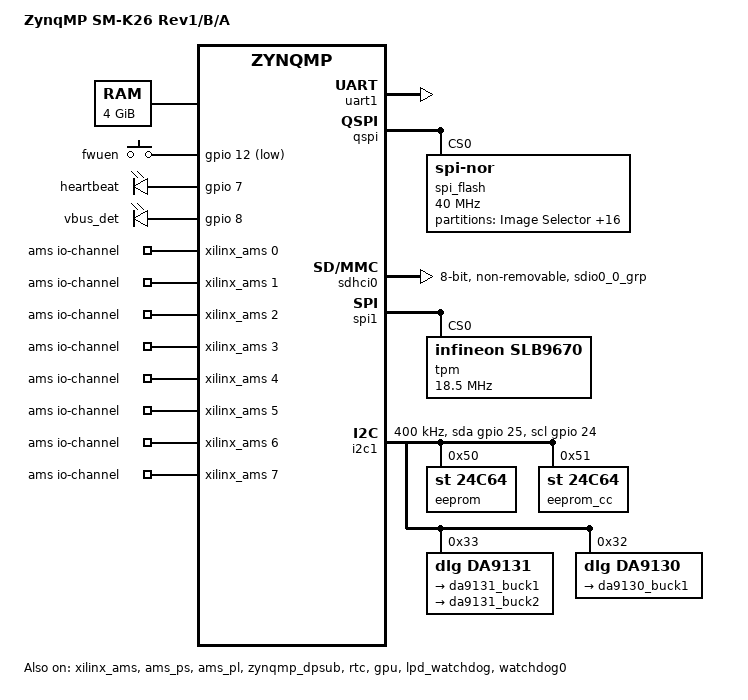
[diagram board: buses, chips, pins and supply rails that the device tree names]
// SPDX-License-Identifier: GPL-2.0
/*
 * dts file for Xilinx ZynqMP SM-K26 rev1/B/A
 *
 * (C) Copyright 2020 - 2021, Xilinx, Inc.
 *
 * Michal Simek <michal.simek@amd.com>
 */

/dts-v1/;

#include "zynqmp.dtsi"
#include "zynqmp-clk-ccf.dtsi"
#include <dt-bindings/input/input.h>
#include <dt-bindings/gpio/gpio.h>
#include <dt-bindings/phy/phy.h>
#include <dt-bindings/pinctrl/pinctrl-zynqmp.h>

/ {
	model = "ZynqMP SM-K26 Rev1/B/A";
	compatible = "xlnx,zynqmp-sm-k26-rev1", "xlnx,zynqmp-sm-k26-revB",
		     "xlnx,zynqmp-sm-k26-revA", "xlnx,zynqmp-sm-k26",
		     "xlnx,zynqmp";

	aliases {
		i2c0 = &i2c0;
		i2c1 = &i2c1;
		mmc0 = &sdhci0;
		mmc1 = &sdhci1;
		nvmem0 = &eeprom;
		nvmem1 = &eeprom_cc;
		rtc0 = &rtc;
		serial0 = &uart0;
		serial1 = &uart1;
		serial2 = &dcc;
		spi0 = &qspi;
		spi1 = &spi0;
		spi2 = &spi1;
		usb0 = &usb0;
		usb1 = &usb1;
	};

	chosen {
		bootargs = "earlycon";
		stdout-path = "serial1:115200n8";
	};

	memory@0 {
		device_type = "memory"; /* 4GB */
		reg = <0x0 0x0 0x0 0x80000000>, <0x8 0x00000000 0x0 0x80000000>;
	};

	reserved-memory {
		#address-cells = <2>;
		#size-cells = <2>;
		ranges;

		pmu_region: pmu@7ff00000 {
			reg = <0x0 0x7ff00000 0x0 0x100000>;
			no-map;
		};
	};

	gpio-keys {
		compatible = "gpio-keys";
		autorepeat;
		key-fwuen {
			label = "fwuen";
			gpios = <&gpio 12 GPIO_ACTIVE_LOW>;
			linux,code = <BTN_MISC>;
			wakeup-source;
			autorepeat;
		};
	};

	leds {
		compatible = "gpio-leds";
		ds35-led {
			label = "heartbeat";
			gpios = <&gpio 7 GPIO_ACTIVE_HIGH>;
			linux,default-trigger = "heartbeat";
		};

		ds36-led {
			label = "vbus_det";
			gpios = <&gpio 8 GPIO_ACTIVE_HIGH>;
			default-state = "on";
		};
	};

	ams {
		compatible = "iio-hwmon";
		io-channels = <&xilinx_ams 0>, <&xilinx_ams 1>, <&xilinx_ams 2>,
			<&xilinx_ams 3>, <&xilinx_ams 4>, <&xilinx_ams 5>,
			<&xilinx_ams 6>, <&xilinx_ams 7>, <&xilinx_ams 8>,
			<&xilinx_ams 9>, <&xilinx_ams 10>, <&xilinx_ams 11>,
			<&xilinx_ams 12>, <&xilinx_ams 13>, <&xilinx_ams 14>,
			<&xilinx_ams 15>, <&xilinx_ams 16>, <&xilinx_ams 17>,
			<&xilinx_ams 18>, <&xilinx_ams 19>, <&xilinx_ams 20>,
			<&xilinx_ams 21>, <&xilinx_ams 22>, <&xilinx_ams 23>,
			<&xilinx_ams 24>, <&xilinx_ams 25>, <&xilinx_ams 26>,
			<&xilinx_ams 27>, <&xilinx_ams 28>, <&xilinx_ams 29>;
	};
};

&modepin_gpio {
	label = "modepin";
};

&uart1 { /* MIO36/MIO37 */
	status = "okay";
};

&pinctrl0 {
	status = "okay";
	pinctrl_sdhci0_default: sdhci0-default {
		conf {
			groups = "sdio0_0_grp";
			slew-rate = <SLEW_RATE_SLOW>;
			power-source = <IO_STANDARD_LVCMOS18>;
			bias-disable;
		};

		mux {
			groups = "sdio0_0_grp";
			function = "sdio0";
		};
	};
};

&qspi { /* MIO 0-5 - U143 */
	status = "okay";
	spi_flash: flash@0 { /* MT25QU512A */
		compatible = "jedec,spi-nor"; /* 64MB */
		reg = <0>;
		spi-tx-bus-width = <4>;
		spi-rx-bus-width = <4>;
		spi-max-frequency = <40000000>; /* 40MHz */

		partitions {
			compatible = "fixed-partitions";
			#address-cells = <1>;
			#size-cells = <1>;

			partition@0 {
				label = "Image Selector";
				reg = <0x0 0x80000>; /* 512KB */
				read-only;
				lock;
			};
			partition@80000 {
				label = "Image Selector Golden";
				reg = <0x80000 0x80000>; /* 512KB */
				read-only;
				lock;
			};
			partition@100000 {
				label = "Persistent Register";
				reg = <0x100000 0x20000>; /* 128KB */
			};
			partition@120000 {
				label = "Persistent Register Backup";
				reg = <0x120000 0x20000>; /* 128KB */
			};
			partition@140000 {
				label = "Open_1";
				reg = <0x140000 0xC0000>; /* 768KB */
			};
			partition@200000 {
				label = "Image A (FSBL, PMU, ATF, U-Boot)";
				reg = <0x200000 0xD00000>; /* 13MB */
			};
			partition@f00000 {
				label = "ImgSel Image A Catch";
				reg = <0xF00000 0x80000>; /* 512KB */
				read-only;
				lock;
			};
			partition@f80000 {
				label = "Image B (FSBL, PMU, ATF, U-Boot)";
				reg = <0xF80000 0xD00000>; /* 13MB */
			};
			partition@1c80000 {
				label = "ImgSel Image B Catch";
				reg = <0x1C80000 0x80000>; /* 512KB */
				read-only;
				lock;
			};
			partition@1d00000 {
				label = "Open_2";
				reg = <0x1D00000 0x100000>; /* 1MB */
			};
			partition@1e00000 {
				label = "Recovery Image";
				reg = <0x1E00000 0x200000>; /* 2MB */
				read-only;
				lock;
			};
			partition@2000000 {
				label = "Recovery Image Backup";
				reg = <0x2000000 0x200000>; /* 2MB */
				read-only;
				lock;
			};
			partition@2200000 {
				label = "U-Boot storage variables";
				reg = <0x2200000 0x20000>; /* 128KB */
			};
			partition@2220000 {
				label = "U-Boot storage variables backup";
				reg = <0x2220000 0x20000>; /* 128KB */
			};
			partition@2240000 {
				label = "SHA256";
				reg = <0x2240000 0x40000>; /* 256B but 256KB sector */
				read-only;
				lock;
			};
			partition@2280000 {
				label = "Secure OS Storage";
				reg = <0x2280000 0x20000>; /* 128KB */
			};
			partition@22a0000 {
				label = "User";
				reg = <0x22a0000 0x1d60000>; /* 29.375 MB */
			};
		};
	};
};

&sdhci0 { /* MIO13-23 - 16GB emmc MTFC16GAPALBH-IT - U133A */
	status = "okay";
	pinctrl-names = "default";
	pinctrl-0 = <&pinctrl_sdhci0_default>;
	non-removable;
	disable-wp;
	bus-width = <8>;
	xlnx,mio-bank = <0>;
	assigned-clock-rates = <187498123>;
};

&spi1 { /* MIO6, 9-11 */
	status = "okay";
	label = "TPM";
	num-cs = <1>;
	tpm@0 { /* slm9670 - U144 */
		compatible = "infineon,slb9670", "tcg,tpm_tis-spi";
		reg = <0>;
		spi-max-frequency = <18500000>;
	};
};

&i2c1 {
	status = "okay";
	bootph-all;
	clock-frequency = <400000>;
	scl-gpios = <&gpio 24 (GPIO_ACTIVE_HIGH | GPIO_OPEN_DRAIN)>;
	sda-gpios = <&gpio 25 (GPIO_ACTIVE_HIGH | GPIO_OPEN_DRAIN)>;

	eeprom: eeprom@50 { /* u46 - also at address 0x58 */
		bootph-all;
		compatible = "st,24c64", "atmel,24c64"; /* st m24c64 */
		reg = <0x50>;
		/* WP pin EE_WP_EN connected to slg7x644092@68 */
	};

	eeprom_cc: eeprom@51 { /* required by spec - also at address 0x59 */
		bootph-all;
		compatible = "st,24c64", "atmel,24c64"; /* st m24c64 */
		reg = <0x51>;
	};

	/* da9062@30 - u170 - also at address 0x31 */
	/* da9131@33 - u167 */
	da9131: pmic@33 {
		compatible = "dlg,da9131";
		reg = <0x33>;
		regulators {
			da9131_buck1: buck1 {
				regulator-name = "da9131_buck1";
				regulator-boot-on;
				regulator-always-on;
			};
			da9131_buck2: buck2 {
				regulator-name = "da9131_buck2";
				regulator-boot-on;
				regulator-always-on;
			};
		};
	};

	/* da9130@32 - u166 */
	da9130: pmic@32 {
		compatible = "dlg,da9130";
		reg = <0x32>;
		regulators {
			da9130_buck1: buck1 {
				regulator-name = "da9130_buck1";
				regulator-boot-on;
				regulator-always-on;
			};
		};
	};

	/* slg7x644091@70 - u168 NOT accessible due to address conflict with stdp4320 */
	/*
	 * stdp4320 - u27 FW has below two issues to be fixed in next board revision.
	 * Device acknowledging to addresses 0x5C, 0x5D, 0x70, 0x72, 0x76.
	 * Address conflict with slg7x644091@70 making both the devices NOT accessible.
	 * With the FW fix, stdp4320 should respond to address 0x73 only.
	 */
	/* slg7x644092@68 - u169 */
	/* Also connected via JA1C as C23/C24 */
};

&gpio {
	status = "okay";
	gpio-line-names = "QSPI_CLK", "QSPI_DQ1", "QSPI_DQ2", "QSPI_DQ3", "QSPI_DQ0", /* 0 - 4 */
			  "QSPI_CS_B", "SPI_CLK", "LED1", "LED2", "SPI_CS_B", /* 5 - 9 */
			  "SPI_MISO", "SPI_MOSI", "FWUEN", "EMMC_DAT0", "EMMC_DAT1", /* 10 - 14 */
			  "EMMC_DAT2", "EMMC_DAT3", "EMMC_DAT4", "EMMC_DAT5", "EMMC_DAT6", /* 15 - 19 */
			  "EMMC_DAT7", "EMMC_CMD", "EMMC_CLK", "EMMC_RST", "I2C1_SCL", /* 20 - 24 */
			  "I2C1_SDA", "", "", "", "", /* 25 - 29 */
			  "", "", "", "", "", /* 30 - 34 */
			  "", "", "", "", "", /* 35 - 39 */
			  "", "", "", "", "", /* 40 - 44 */
			  "", "", "", "", "", /* 45 - 49 */
			  "", "", "", "", "", /* 50 - 54 */
			  "", "", "", "", "", /* 55 - 59 */
			  "", "", "", "", "", /* 60 - 64 */
			  "", "", "", "", "", /* 65 - 69 */
			  "", "", "", "", "", /* 70 - 74 */
			  "", "", "", /* 75 - 77, MIO end and EMIO start */
			  "", "", /* 78 - 79 */
			  "", "", "", "", "", /* 80 - 84 */
			  "", "", "", "", "", /* 85 - 89 */
			  "", "", "", "", "", /* 90 - 94 */
			  "", "", "", "", "", /* 95 - 99 */
			  "", "", "", "", "", /* 100 - 104 */
			  "", "", "", "", "", /* 105 - 109 */
			  "", "", "", "", "", /* 110 - 114 */
			  "", "", "", "", "", /* 115 - 119 */
			  "", "", "", "", "", /* 120 - 124 */
			  "", "", "", "", "", /* 125 - 129 */
			  "", "", "", "", "", /* 130 - 134 */
			  "", "", "", "", "", /* 135 - 139 */
			  "", "", "", "", "", /* 140 - 144 */
			  "", "", "", "", "", /* 145 - 149 */
			  "", "", "", "", "", /* 150 - 154 */
			  "", "", "", "", "", /* 155 - 159 */
			  "", "", "", "", "", /* 160 - 164 */
			  "", "", "", "", "", /* 165 - 169 */
			  "", "", "", ""; /* 170 - 173 */
};

&xilinx_ams {
	status = "okay";
};

&ams_ps {
	status = "okay";
};

&ams_pl {
	status = "okay";
};

&zynqmp_dpsub {
	status = "okay";
};

&rtc {
	status = "okay";
};

&lpd_dma_chan1 {
	status = "okay";
};

&lpd_dma_chan2 {
	status = "okay";
};

&lpd_dma_chan3 {
	status = "okay";
};

&lpd_dma_chan4 {
	status = "okay";
};

&lpd_dma_chan5 {
	status = "okay";
};

&lpd_dma_chan6 {
	status = "okay";
};

&lpd_dma_chan7 {
	status = "okay";
};

&lpd_dma_chan8 {
	status = "okay";
};

&fpd_dma_chan1 {
	status = "okay";
};

&fpd_dma_chan2 {
	status = "okay";
};

&fpd_dma_chan3 {
	status = "okay";
};

&fpd_dma_chan4 {
	status = "okay";
};

&fpd_dma_chan5 {
	status = "okay";
};

&fpd_dma_chan6 {
	status = "okay";
};

&fpd_dma_chan7 {
	status = "okay";
};

&fpd_dma_chan8 {
	status = "okay";
};

&gpu {
	status = "okay";
};

&lpd_watchdog {
	status = "okay";
};

&watchdog0 {
	status = "okay";
};

&cpu_opp_table {
	opp00 {
		opp-hz = /bits/ 64 <1333333333>;
	};
	opp01 {
		opp-hz = /bits/ 64 <666666666>;
	};
	opp02 {
		opp-hz = /bits/ 64 <444444444>;
	};
	opp03 {
		opp-hz = /bits/ 64 <333333333>;
	};
};
